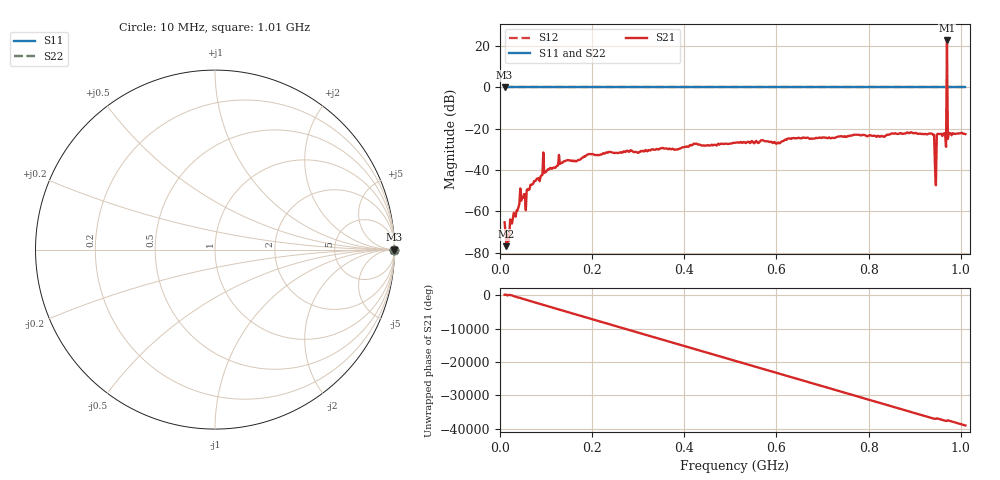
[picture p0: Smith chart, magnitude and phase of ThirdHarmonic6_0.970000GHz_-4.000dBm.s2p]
! 8/16/2025 7:20:12 AM
! C:\ANRITSUVNA\TEMP\TEMP.S2P
! CHANNEL.1
! TR.MEASUREMENT
! RAW.DATA
! RF.CORRECTION.OFF
! AVERAGING.OFF
! IF.BANDWIDTH: 5KHZ
! SWEEPTYPE:  FREQ.SWEEP(Linear)
! Reference Plane Port Info
! PORT:  PORT1  PORT2
! DISTANCE:  0  m  0  m
! TIME:  0  s  0  s
! PHASE.OFFSET:  0  deg.  0  deg.
! LOSS:  0  dB  0  dB
! REF.LOSS:  0  dB  0  dB
! REF.FREQ:  0  Hz  0  Hz
! Power Info
! POWER:  -20  dBm  -20  dBm
! EFF.POWER:  -20  dBm  -20  dBm
! SOURCE.ATTEN:  0  dB  0  dB
! TEST.ATTEN:  0  dB  0  dB
# GHZ S RI R 50.0
! FREQ.GHZ  S11RE  S11IM  S21RE  S21IM  S12RE  S12IM  S22RE  S22IM
!; PortSelection: Port_12
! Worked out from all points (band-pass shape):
!   501 points, 10 MHz to 1.01 GHz, reference 50 ohm
!   highest |S21| = 22.57 dB at 970 MHz (marker M1); lowest = -76.9 dB at 14 MHz (marker M2)
!   |S21| within 3 dB of the highest: 969.8833 MHz to 970.1259 MHz (242.6 kHz wide, 0.025 % of centre)
!   lowest |S11| = 0.0 dB at 10 MHz (marker M3)
!   |S11| at or under -10 dB: nowhere
!   |S22| runs from 0.0 to 0.0 dB; largest |S21 - S12| = 14
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0.01  1 0  -0.000365 0.000401  1 0  1 0
0.014  1 0  1.59e-05 0.000143  1 0  1 0
0.016  1 0  0.000134 -0.000237  1 0  1 0
0.048  1 0  0.000767 0.002  1 0  1 0
0.052  1 0  -0.000355 -0.00259  1 0  1 0
0.092  1 0  0.00155 0.00739  1 0  1 0
0.178  1 0  -0.0187 -0.00565  1 0  1 0
0.344  1 0  0.0307 -0.00406  1 0  1 0
0.51  1 0  -0.0436 0.0113  1 0  1 0
0.678  1 0  -0.0185 -0.0535  1 0  1 0
0.844  1 0  0.0395 0.0597  1 0  1 0
0.938  1 0  -0.0532 -0.0521  1 0  1 0
0.942  1 0  0.0269 0.0656  1 0  1 0
0.944  1 0  0.0111 0.00572  1 0  1 0
0.948  1 0  -0.0695 -0.0107  1 0  1 0
0.952  1 0  0.0668 0.0308  1 0  1 0
0.964  1 0  -0.00864 -0.0766  1 0  1 0
0.966  1 0  -0.0772 -0.00342  1 0  1 0
0.97  1 0  -13.43 -0.5056  1 0  1 0
0.974  1 0  -0.0615 -0.049  1 0  1 0
0.976  1 0  -0.057 0.0523  1 0  1 0
1.01  1 0  -0.0646 -0.0345  1 0  1 0
